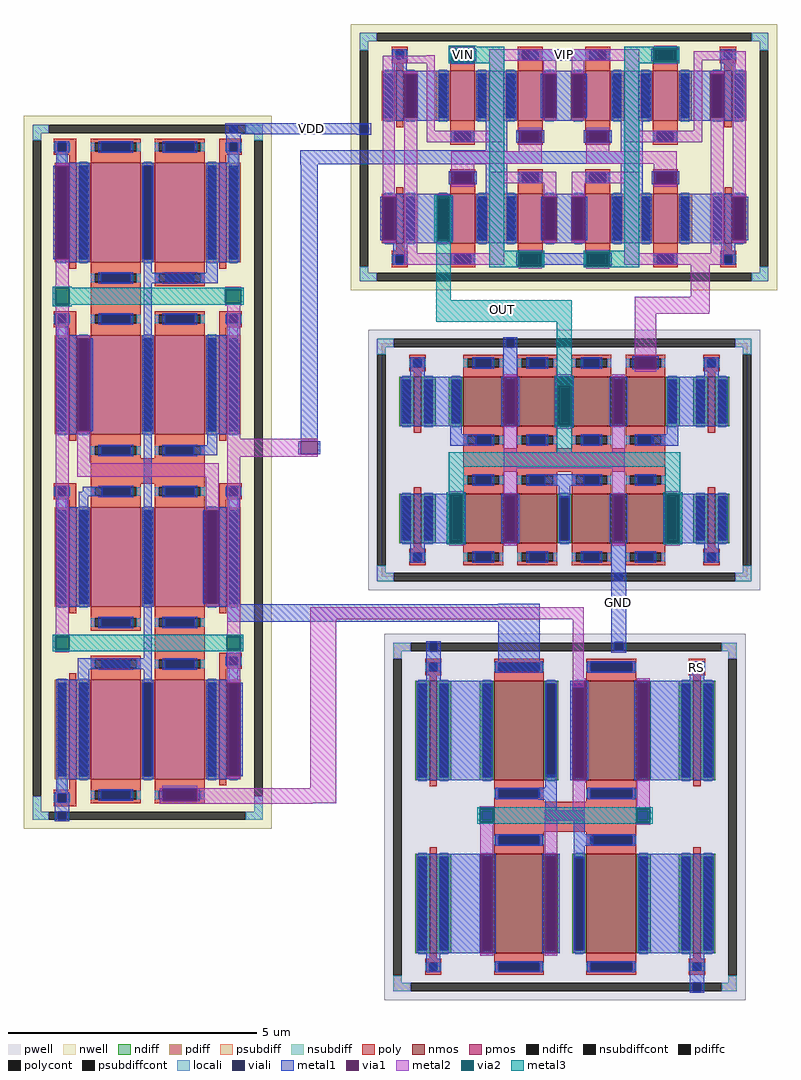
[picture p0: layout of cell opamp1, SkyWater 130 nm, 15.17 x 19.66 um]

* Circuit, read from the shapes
.subckt opamp1 VDD OUT GND RS VIP VIN
XM1 OUT OUT OUT GND sky130_fd_pr__nfet_01v8 w=1 l=0.15 m=2
XM2 pmos_diffamp_0/D6 pmos_diffamp_0/D6 pmos_diffamp_0/D6 GND sky130_fd_pr__nfet_01v8 w=1 l=0.15 m=2
XM3 RS RS RS GND sky130_fd_pr__nfet_01v8 w=2 l=0.15 m=2
XM4 GND GND GND GND sky130_fd_pr__nfet_01v8 w=2 l=0.15 m=2
XM5 GND pmos_diffamp_0/D6 OUT GND sky130_fd_pr__nfet_01v8 w=1 l=0.8 m=4
XM6 GND pmos_diffamp_0/D6 pmos_diffamp_0/D6 GND sky130_fd_pr__nfet_01v8 w=1 l=0.8 m=4
XM7 pmocs_0/D2 pmocs_0/D1 RS GND sky130_fd_pr__nfet_01v8 w=2 l=1 m=2
XM8 pmocs_0/D1 pmocs_0/D1 GND GND sky130_fd_pr__nfet_01v8 w=2 l=1 m=2
XM9 VDD VDD VDD VDD sky130_fd_pr__pfet_01v8 w=2 l=0.15 m=2
XM10 pmocs_0/D2 pmocs_0/D2 pmocs_0/D2 VDD sky130_fd_pr__pfet_01v8 w=2 l=0.15 m=2
XM11 pmocs_0/D1 pmocs_0/D1 pmocs_0/D1 VDD sky130_fd_pr__pfet_01v8 w=2 l=0.15 m=2
XM12 pmocs_0/D5 pmocs_0/D5 pmocs_0/D5 VDD sky130_fd_pr__pfet_01v8 w=2 l=0.15 m=2
XM13 VDD VDD VDD VDD sky130_fd_pr__pfet_01v8 w=2 l=1 m=2
XM14 VDD pmocs_0/D2 pmocs_0/D2 VDD sky130_fd_pr__pfet_01v8 w=2 l=1 m=2
XM15 VDD pmocs_0/D2 pmocs_0/D1 VDD sky130_fd_pr__pfet_01v8 w=2 l=1 m=2
XM16 VDD pmocs_0/D2 pmocs_0/D5 VDD sky130_fd_pr__pfet_01v8 w=2 l=1 m=2
XM17 OUT OUT OUT VDD sky130_fd_pr__pfet_01v8 w=1 l=0.15 m=2
XM18 pmos_diffamp_0/D6 pmos_diffamp_0/D6 pmos_diffamp_0/D6 VDD sky130_fd_pr__pfet_01v8 w=1 l=0.15 m=2
XM19 pmocs_0/D5 VIN pmos_diffamp_0/D6 VDD sky130_fd_pr__pfet_01v8 w=1 l=0.5 m=4
XM20 pmocs_0/D5 VIP OUT VDD sky130_fd_pr__pfet_01v8 w=1 l=0.5 m=4
.ends

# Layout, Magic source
magic
tech sky130A
magscale 1 2
<< viali >>
rect 1353 2802 1387 2836
rect 2378 717 2414 751
<< metal1 >>
rect 2152 3094 2198 3140
rect 811 2836 1399 2842
rect 811 2802 1353 2836
rect 1387 2802 1399 2836
rect 811 2797 1399 2802
rect 1341 2796 1399 2797
rect 1113 2678 1945 2733
rect 1115 1561 1183 2678
rect 1654 2367 1664 2547
rect 1716 2367 1726 2547
rect 2451 1851 2461 1903
rect 2548 1851 2558 1903
rect 1105 1509 1115 1561
rect 1183 1509 1193 1561
rect 828 905 862 947
rect 1910 905 2078 906
rect 819 835 2078 905
rect 828 834 862 835
rect 1910 629 2078 835
rect 2366 751 2426 1032
rect 2366 717 2378 751
rect 2414 717 2426 751
rect 2366 710 2426 717
rect 2683 619 2740 675
rect 547 111 557 163
rect 699 111 709 163
<< via1 >>
rect 1664 2367 1716 2547
rect 2461 1851 2548 1903
rect 1115 1509 1183 1561
rect 557 111 699 163
<< metal2 >>
rect 1662 2547 1718 2557
rect 1662 2357 1718 2367
rect 2686 2144 2762 2318
rect 2460 2084 2762 2144
rect 2460 2075 2761 2084
rect 2461 1903 2548 2075
rect 2461 1841 2548 1851
rect 820 1561 1183 1571
rect 820 1509 1115 1561
rect 820 1500 1183 1509
rect 1115 1499 1183 1500
rect 1153 845 2256 892
rect 557 163 699 173
rect 1153 163 1259 845
rect 2211 570 2256 845
rect 547 111 557 163
rect 699 111 1259 163
rect 547 103 1259 111
rect 547 102 1162 103
rect 557 101 699 102
<< via2 >>
rect 1662 2367 1664 2547
rect 1664 2367 1716 2547
rect 1716 2367 1718 2547
<< metal3 >>
rect 1711 3084 1823 3155
rect 1652 2547 1728 2552
rect 1652 2367 1662 2547
rect 1718 2367 1728 2547
rect 1652 2362 1728 2367
rect 1660 2129 1720 2362
rect 1660 2043 2207 2129
rect 2147 1785 2207 2043
use nmos_diffamp  nmos_diffamp_0
transform 1 0 1712 0 1 1498
box -324 -536 1254 512
use nmoscs  nmoscs_0
transform 1 0 1836 0 1 109
box -384 -798 1072 677
use pmocs  pmocs_0
transform 1 0 184 0 1 877
box -184 -877 814 1995
use pmos_diffamp  pmos_diffamp_0
transform 1 0 1623 0 1 2748
box -306 -578 1411 494
<< labels >>
flabel metal1 1158 2820 1158 2820 0 FreeSans 800 0 0 0 VDD
port 0 nsew
flabel metal3 1929 2091 1929 2091 0 FreeSans 800 0 0 0 OUT
port 1 nsew
flabel metal1 2397 912 2397 912 0 FreeSans 800 0 0 0 GND
port 2 nsew
flabel metal1 2711 652 2711 652 0 FreeSans 800 0 0 0 RS
port 3 nsew
flabel metal1 2176 3120 2176 3120 0 FreeSans 800 0 0 0 VIP
port 4 nsew
flabel metal3 1769 3120 1769 3120 0 FreeSans 800 0 0 0 VIN
port 5 nsew
<< end >>

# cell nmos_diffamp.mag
magic
tech sky130A
magscale 1 2
<< pwell >>
rect -324 476 1254 512
rect -324 -500 -288 476
rect -271 -483 1201 459
rect 1218 -500 1254 476
rect -324 -536 1254 -500
<< psubdiff >>
rect -288 442 -223 476
rect 1153 442 1218 476
rect -288 414 -254 442
rect 1184 414 1218 442
rect -288 -466 -254 -438
rect 1184 -466 1218 -438
rect -288 -500 -223 -466
rect 1153 -500 1218 -466
<< psubdiffcont >>
rect -223 442 1153 476
rect -288 -438 -254 414
rect 1184 -438 1218 414
rect -223 -500 1153 -466
<< poly >>
rect 58 -59 872 35
<< locali >>
rect -288 442 -223 476
rect 1153 442 1218 476
rect -288 414 -254 442
rect -288 -466 -254 -438
rect 1184 414 1218 442
rect 1184 -466 1218 -438
rect -288 -500 -223 -466
rect 1153 -500 1218 -466
<< viali >>
rect 230 442 264 476
rect 666 -500 701 -466
<< metal1 >>
rect 218 476 276 482
rect 218 442 230 476
rect 264 442 276 476
rect -156 323 -98 401
rect 218 323 276 442
rect 1028 323 1086 401
rect -194 123 52 323
rect 211 123 221 323
rect 273 123 283 323
rect 429 123 439 323
rect 491 123 501 323
rect 647 123 657 323
rect 709 123 719 323
rect 878 123 1124 323
rect 6 91 52 123
rect 878 91 924 123
rect 6 45 113 91
rect 814 45 924 91
rect 386 -115 545 -69
rect -194 -347 3 -147
rect 55 -347 65 -147
rect 211 -347 221 -147
rect 273 -347 283 -147
rect 442 -164 488 -115
rect 647 -347 657 -147
rect 709 -347 719 -147
rect 865 -347 875 -147
rect 927 -347 1124 -147
rect -156 -425 -98 -347
rect 654 -460 712 -347
rect 1028 -425 1086 -347
rect 654 -466 713 -460
rect 654 -500 666 -466
rect 701 -500 713 -466
rect 654 -506 713 -500
<< via1 >>
rect 221 123 273 323
rect 439 123 491 323
rect 657 123 709 323
rect 3 -347 55 -147
rect 221 -347 273 -147
rect 657 -347 709 -147
rect 875 -347 927 -147
<< metal2 >>
rect 221 323 273 333
rect 221 20 273 123
rect 437 323 493 333
rect 437 113 493 123
rect 657 323 709 333
rect 657 20 709 123
rect 221 -45 709 20
rect 1 -147 57 -137
rect 1 -357 57 -347
rect 221 -147 273 -45
rect 221 -357 273 -347
rect 657 -147 709 -45
rect 657 -357 709 -347
rect 873 -147 929 -137
rect 873 -357 929 -347
<< via2 >>
rect 437 123 439 323
rect 439 123 491 323
rect 491 123 493 323
rect 1 -347 3 -147
rect 3 -347 55 -147
rect 55 -347 57 -147
rect 873 -347 875 -147
rect 875 -347 927 -147
rect 927 -347 929 -147
<< metal3 >>
rect 427 323 503 328
rect 427 123 437 323
rect 493 123 503 323
rect 427 118 503 123
rect 435 20 495 118
rect -1 -40 931 20
rect -1 -142 59 -40
rect 871 -142 931 -40
rect -9 -147 67 -142
rect -9 -347 1 -147
rect 57 -347 67 -147
rect -9 -352 67 -347
rect 863 -147 939 -142
rect 863 -347 873 -147
rect 929 -347 939 -147
rect 863 -352 939 -347
use sky130_fd_pr__nfet_01v8_59MFY5  sky130_fd_pr__nfet_01v8_59MFY5_0
transform 1 0 1057 0 1 -278
box -73 -157 73 157
use sky130_fd_pr__nfet_01v8_59MFY5  sky130_fd_pr__nfet_01v8_59MFY5_1
transform 1 0 -127 0 1 -278
box -73 -157 73 157
use sky130_fd_pr__nfet_01v8_DXNGQZ  sky130_fd_pr__nfet_01v8_DXNGQZ_0
transform 1 0 465 0 1 223
box -465 -188 465 188
use sky130_fd_pr__nfet_01v8_DXNGQZ  sky130_fd_pr__nfet_01v8_DXNGQZ_1
transform 1 0 465 0 1 -247
box -465 -188 465 188
use sky130_fd_pr__nfet_01v8_UPT43B  sky130_fd_pr__nfet_01v8_UPT43B_0
transform 1 0 -127 0 1 254
box -73 -157 73 157
use sky130_fd_pr__nfet_01v8_UPT43B  sky130_fd_pr__nfet_01v8_UPT43B_1
transform 1 0 1057 0 1 254
box -73 -157 73 157
<< labels >>
flabel metal1 -32 -252 -32 -252 0 FreeSans 160 0 0 0 OUT
port 1 nsew
flabel metal1 -27 229 -27 229 0 FreeSans 160 0 0 0 D8
port 2 nsew
flabel metal2 247 67 247 67 0 FreeSans 160 0 0 0 GND
port 0 nsew
<< end >>

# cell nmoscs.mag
magic
tech sky130A
magscale 1 2
<< pwell >>
rect -384 -798 1072 677
<< psubdiff >>
rect -348 607 -277 641
rect 974 607 1036 641
rect -348 577 -314 607
rect 1002 577 1036 607
rect -348 -728 -314 -700
rect 1002 -728 1036 -700
rect -348 -762 -277 -728
rect 974 -762 1036 -728
<< psubdiffcont >>
rect -277 607 974 641
rect -348 -700 -314 577
rect 1002 -700 1036 577
rect -277 -762 974 -728
<< poly >>
rect 58 -121 630 0
<< locali >>
rect -348 607 -277 641
rect 974 607 1036 641
rect -348 577 -314 607
rect -348 -728 -314 -700
rect 1002 577 1036 607
rect 1002 -728 1036 -700
rect -348 -762 -277 -728
rect 974 -762 1036 -728
<< viali >>
rect -204 607 -170 641
rect 858 -762 892 -728
<< metal1 >>
rect -216 641 -157 647
rect -216 607 -204 641
rect -170 607 -157 641
rect -216 555 -157 607
rect -215 488 -157 555
rect 847 488 904 566
rect -254 88 52 488
rect 264 56 310 109
rect 365 88 375 488
rect 427 88 437 488
rect 623 88 633 488
rect 685 88 942 488
rect 235 9 310 56
rect 264 -33 310 9
rect 264 -77 424 -33
rect 378 -131 424 -77
rect 378 -177 457 -131
rect -254 -209 -120 -208
rect -254 -608 3 -209
rect -216 -609 3 -608
rect 55 -609 65 -209
rect 251 -609 261 -209
rect 313 -609 323 -209
rect 378 -228 424 -177
rect 636 -609 942 -209
rect -216 -687 -158 -609
rect 846 -728 904 -609
rect 846 -762 858 -728
rect 892 -762 904 -728
rect 846 -768 904 -762
<< via1 >>
rect 375 88 427 488
rect 633 88 685 488
rect 3 -609 55 -209
rect 261 -609 313 -209
<< metal2 >>
rect 375 488 427 498
rect 375 78 427 88
rect 633 488 685 498
rect 1 -27 57 -17
rect 375 -33 424 78
rect 633 -17 685 88
rect 1 -93 57 -83
rect 261 -77 424 -33
rect 631 -27 687 -17
rect 3 -209 55 -93
rect 3 -619 55 -609
rect 261 -209 313 -77
rect 631 -93 687 -83
rect 261 -619 313 -609
<< via2 >>
rect 1 -83 57 -27
rect 631 -83 687 -27
<< metal3 >>
rect -9 -27 697 -22
rect -9 -83 1 -27
rect 57 -83 631 -27
rect 687 -83 697 -27
rect -9 -88 697 -83
use sky130_fd_pr__nfet_01v8_Q6XT6P  sky130_fd_pr__nfet_01v8_Q6XT6P_0
transform 1 0 344 0 1 -409
box -344 -288 344 288
use sky130_fd_pr__nfet_01v8_Q6XT6P  sky130_fd_pr__nfet_01v8_Q6XT6P_1
transform 1 0 344 0 1 288
box -344 -288 344 288
use sky130_fd_pr__nfet_01v8_SCJFGL  sky130_fd_pr__nfet_01v8_SCJFGL_0
transform 1 0 875 0 1 -440
box -73 -257 73 257
use sky130_fd_pr__nfet_01v8_SCJFGL  sky130_fd_pr__nfet_01v8_SCJFGL_1
transform 1 0 -187 0 1 -440
box -73 -257 73 257
use sky130_fd_pr__nfet_01v8_TCR5KT  sky130_fd_pr__nfet_01v8_TCR5KT_0
transform 1 0 -187 0 1 319
box -73 -257 73 257
use sky130_fd_pr__nfet_01v8_TCR5KT  sky130_fd_pr__nfet_01v8_TCR5KT_1
transform 1 0 875 0 1 319
box -73 -257 73 257
<< labels >>
flabel metal1 285 35 285 35 0 FreeSans 160 0 0 0 D3
port 0 nsew
flabel metal2 400 34 401 34 0 FreeSans 160 0 0 0 D4
port 1 nsew
flabel metal1 -187 591 -187 591 0 FreeSans 160 0 0 0 GND
port 2 nsew
flabel metal1 -57 -410 -57 -410 0 FreeSans 160 0 0 0 RS
port 3 nsew
<< end >>

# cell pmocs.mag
magic
tech sky130A
magscale 1 2
<< nwell >>
rect -184 -877 814 1995
<< nsubdiff >>
rect -148 1925 -83 1959
rect 709 1925 778 1959
rect -148 1897 -114 1925
rect 744 1897 778 1925
rect -148 -807 -114 -745
rect 744 -807 778 -745
rect -148 -841 -83 -807
rect 709 -841 778 -807
<< nsubdiffcont >>
rect -83 1925 709 1959
rect -148 -745 -114 1897
rect 744 -745 778 1897
rect -83 -841 709 -807
<< poly >>
rect -64 1887 28 1903
rect -64 1853 -48 1887
rect -14 1853 28 1887
rect -64 1838 28 1853
rect -2 1818 28 1838
rect 602 1887 694 1903
rect 602 1853 644 1887
rect 678 1853 694 1887
rect 602 1838 694 1853
rect 602 1818 632 1838
rect -64 1193 28 1209
rect 86 1208 286 1310
rect -64 1159 -48 1193
rect -14 1159 28 1193
rect -64 1144 28 1159
rect -2 1124 28 1144
rect 602 1193 694 1209
rect 602 1159 644 1193
rect 678 1159 694 1193
rect 602 1144 694 1159
rect 602 1126 632 1144
rect -64 499 28 515
rect 86 514 544 616
rect -64 465 -48 499
rect -14 465 28 499
rect -64 450 28 465
rect -2 430 28 450
rect 602 499 694 515
rect 602 465 644 499
rect 678 465 694 499
rect 602 450 694 465
rect 602 430 632 450
rect 344 -180 544 -78
rect 602 -183 694 -167
rect 602 -217 644 -183
rect 678 -217 694 -183
rect 602 -232 694 -217
rect 602 -250 632 -232
rect -2 -720 28 -702
rect -64 -735 28 -720
rect -64 -769 -48 -735
rect -14 -769 28 -735
rect -64 -785 28 -769
<< polycont >>
rect -48 1853 -14 1887
rect 644 1853 678 1887
rect -48 1159 -14 1193
rect 644 1159 678 1193
rect -48 465 -14 499
rect 644 465 678 499
rect 644 -217 678 -183
rect -48 -769 -14 -735
<< locali >>
rect -148 1925 -83 1959
rect 709 1925 778 1959
rect -148 1897 -114 1925
rect 744 1897 778 1925
rect -64 1853 -48 1887
rect -14 1853 2 1887
rect 628 1853 644 1887
rect 678 1853 694 1887
rect -48 1790 -14 1853
rect 644 1788 678 1853
rect -64 1159 -48 1193
rect -14 1159 2 1193
rect 628 1159 644 1193
rect 678 1159 694 1193
rect -48 1096 -14 1159
rect 644 1094 678 1159
rect -64 465 -48 499
rect -14 465 2 499
rect 628 465 644 499
rect 678 465 694 499
rect -48 402 -14 465
rect 644 402 678 465
rect 628 -217 644 -183
rect 678 -217 694 -183
rect -48 -290 -14 -275
rect 644 -291 678 -217
rect -48 -735 -14 -661
rect -148 -807 -114 -745
rect -64 -769 -48 -735
rect -14 -769 2 -735
rect 744 -807 778 -745
rect -148 -841 -83 -807
rect 709 -841 778 -807
<< viali >>
rect 644 1925 678 1959
rect -48 1853 -14 1887
rect 644 1853 678 1887
rect -48 1159 -14 1193
rect 644 1159 678 1193
rect -48 465 -14 499
rect 644 465 678 499
rect 644 -217 678 -183
rect -48 -769 -14 -735
rect -48 -841 -14 -807
<< metal1 >>
rect 632 1959 690 1965
rect 632 1925 644 1959
rect 678 1925 690 1959
rect -60 1887 -2 1893
rect -60 1853 -48 1887
rect -14 1853 -2 1887
rect -60 1847 -2 1853
rect 632 1887 690 1925
rect 632 1853 644 1887
rect 678 1853 690 1887
rect 632 1847 690 1853
rect -54 1806 -8 1847
rect 638 1806 684 1847
rect -54 1794 80 1806
rect -66 1418 -56 1794
rect -4 1418 80 1794
rect -54 1406 80 1418
rect 298 1364 332 1418
rect 550 1406 684 1806
rect 550 1364 596 1406
rect 298 1320 596 1364
rect -60 1193 -2 1199
rect -60 1159 -48 1193
rect -14 1159 -2 1193
rect -60 1153 -2 1159
rect -54 1112 -8 1153
rect -54 1100 80 1112
rect -54 724 32 1100
rect 84 724 94 1100
rect -54 712 80 724
rect -60 499 -2 505
rect -60 465 -48 499
rect -14 465 -2 499
rect 54 481 134 502
rect -60 459 -2 465
rect 38 462 134 481
rect -54 418 -8 459
rect 38 418 76 462
rect -54 18 80 418
rect 298 -190 332 1320
rect 632 1193 690 1199
rect 632 1159 644 1193
rect 678 1159 690 1193
rect 632 1153 690 1159
rect 636 1112 688 1153
rect 550 1084 688 1112
rect 550 712 684 1084
rect 554 668 594 712
rect 498 628 594 668
rect 632 499 690 505
rect 632 465 644 499
rect 678 465 690 499
rect 632 459 690 465
rect 638 418 684 459
rect 550 406 684 418
rect 538 30 548 406
rect 600 30 684 406
rect 550 18 684 30
rect 34 -234 332 -190
rect 632 -183 690 -167
rect 632 -217 644 -183
rect 678 -217 690 -183
rect 632 -223 690 -217
rect -54 -276 -8 -275
rect 34 -276 80 -234
rect -54 -676 80 -276
rect 298 -288 332 -234
rect 636 -276 688 -223
rect 550 -288 688 -276
rect 550 -664 636 -288
rect 688 -664 698 -288
rect 550 -676 684 -664
rect -54 -729 -8 -676
rect -60 -735 -2 -729
rect -60 -769 -48 -735
rect -14 -769 -2 -735
rect -60 -807 -2 -769
rect -60 -841 -48 -807
rect -14 -841 -2 -807
rect -60 -847 -2 -841
<< via1 >>
rect -56 1418 -4 1794
rect 32 724 84 1100
rect 548 30 600 406
rect 636 -664 688 -288
<< metal2 >>
rect -56 1794 -4 1804
rect -56 1312 -4 1418
rect -58 1302 -2 1312
rect -58 1224 -2 1234
rect 628 1296 692 1306
rect 628 1230 692 1240
rect -56 -90 -4 1224
rect 32 1100 84 1110
rect 32 596 84 724
rect 32 542 600 596
rect 548 406 600 542
rect 548 20 600 30
rect 636 -90 688 1230
rect -58 -100 -2 -90
rect -58 -166 -2 -156
rect 634 -100 690 -90
rect 634 -166 690 -156
rect 636 -288 688 -166
rect 636 -674 688 -664
<< via2 >>
rect -58 1234 -2 1302
rect 628 1240 692 1296
rect -58 -156 -2 -100
rect 634 -156 690 -100
<< metal3 >>
rect -68 1302 8 1307
rect -68 1234 -58 1302
rect -2 1296 702 1302
rect -2 1240 628 1296
rect 692 1240 702 1296
rect -2 1234 702 1240
rect -68 1229 8 1234
rect -68 -100 700 -94
rect -68 -156 -58 -100
rect -2 -156 634 -100
rect 690 -156 700 -100
rect -68 -162 700 -156
use sky130_fd_pr__pfet_01v8_2ZH9AN  sky130_fd_pr__pfet_01v8_2ZH9AN_0
transform 1 0 13 0 1 218
box -109 -262 109 262
use sky130_fd_pr__pfet_01v8_2ZH9AN  sky130_fd_pr__pfet_01v8_2ZH9AN_1
transform 1 0 13 0 1 -476
box -109 -262 109 262
use sky130_fd_pr__pfet_01v8_2ZH9AN  sky130_fd_pr__pfet_01v8_2ZH9AN_2
transform 1 0 617 0 1 -476
box -109 -262 109 262
use sky130_fd_pr__pfet_01v8_2ZH9AN  sky130_fd_pr__pfet_01v8_2ZH9AN_3
transform 1 0 617 0 1 218
box -109 -262 109 262
use sky130_fd_pr__pfet_01v8_2ZH9AN  sky130_fd_pr__pfet_01v8_2ZH9AN_4
transform 1 0 617 0 1 912
box -109 -262 109 262
use sky130_fd_pr__pfet_01v8_2ZH9AN  sky130_fd_pr__pfet_01v8_2ZH9AN_5
transform 1 0 617 0 1 1606
box -109 -262 109 262
use sky130_fd_pr__pfet_01v8_2ZH9AN  sky130_fd_pr__pfet_01v8_2ZH9AN_6
transform 1 0 13 0 1 1606
box -109 -262 109 262
use sky130_fd_pr__pfet_01v8_2ZH9AN  sky130_fd_pr__pfet_01v8_2ZH9AN_7
transform 1 0 13 0 1 912
box -109 -262 109 262
use sky130_fd_pr__pfet_01v8_SDE6B7  sky130_fd_pr__pfet_01v8_SDE6B7_0
transform 1 0 315 0 1 1606
box -323 -300 323 300
use sky130_fd_pr__pfet_01v8_SDE6B7  sky130_fd_pr__pfet_01v8_SDE6B7_1
transform 1 0 315 0 1 912
box -323 -300 323 300
use sky130_fd_pr__pfet_01v8_SDE6B7  sky130_fd_pr__pfet_01v8_SDE6B7_2
transform 1 0 315 0 1 218
box -323 -300 323 300
use sky130_fd_pr__pfet_01v8_SDE6B7  sky130_fd_pr__pfet_01v8_SDE6B7_3
transform 1 0 315 0 1 -476
box -323 -300 323 300
<< labels >>
flabel metal1 658 1917 658 1917 0 FreeSans 160 0 0 0 VDD
port 0 nsew
flabel metal2 662 606 662 606 0 FreeSans 160 0 0 0 D5
port 1 nsew
flabel metal1 572 659 572 659 0 FreeSans 160 0 0 0 D2
port 2 nsew
flabel metal2 59 625 59 625 0 FreeSans 160 0 0 0 D1
port 3 nsew
<< end >>

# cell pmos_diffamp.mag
magic
tech sky130A
magscale 1 2
<< nwell >>
rect -306 -578 1411 494
<< nsubdiff >>
rect -270 424 -201 458
rect 1309 424 1375 458
rect -270 389 -236 424
rect -270 -508 -236 -483
rect 1341 389 1375 424
rect 1341 -508 1375 -483
rect -270 -542 -201 -508
rect 1309 -542 1375 -508
<< nsubdiffcont >>
rect -201 424 1309 458
rect -270 -483 -236 389
rect 1341 -483 1375 389
rect -201 -542 1309 -508
<< locali >>
rect -270 424 -201 458
rect 1309 424 1375 458
rect -270 389 -236 424
rect -270 -508 -236 -483
rect 1341 389 1375 424
rect 1341 -508 1375 -483
rect -270 -542 -201 -508
rect 1309 -542 1375 -508
<< metal1 >>
rect -139 305 -80 392
rect 88 343 98 395
rect 190 343 200 395
rect 415 346 689 392
rect 904 343 914 395
rect 1006 343 1016 395
rect 1184 305 1242 392
rect -176 293 88 305
rect -176 117 -91 293
rect -39 117 88 293
rect -176 105 88 117
rect 200 105 360 305
rect 472 293 632 305
rect 459 117 469 293
rect 521 117 583 293
rect 635 117 645 293
rect 472 105 632 117
rect 744 105 904 305
rect 1016 293 1280 305
rect 1016 117 1143 293
rect 1195 117 1280 293
rect 1016 105 1280 117
rect 237 -18 324 105
rect 360 15 370 67
rect 462 15 472 67
rect 632 15 642 67
rect 734 15 744 67
rect 781 -18 869 105
rect 237 -69 869 -18
rect 89 -151 99 -99
rect 191 -151 201 -99
rect 237 -189 324 -69
rect 781 -189 869 -69
rect 905 -151 915 -99
rect 1007 -151 1017 -99
rect -174 -201 90 -189
rect -187 -377 -177 -201
rect -125 -377 90 -201
rect -174 -389 90 -377
rect 201 -389 361 -189
rect 473 -201 633 -189
rect 460 -377 470 -201
rect 522 -377 584 -201
rect 636 -377 646 -201
rect 473 -389 633 -377
rect 745 -389 905 -189
rect 1017 -201 1281 -189
rect 1017 -377 1232 -201
rect 1284 -377 1294 -201
rect 1017 -389 1281 -377
rect -136 -439 -78 -389
rect 361 -479 371 -427
rect 463 -430 473 -427
rect 633 -430 643 -427
rect 463 -475 643 -430
rect 463 -479 473 -475
rect 633 -479 643 -475
rect 735 -479 745 -427
rect 1185 -438 1243 -389
<< via1 >>
rect 98 343 190 395
rect 914 343 1006 395
rect -91 117 -39 293
rect 469 117 521 293
rect 583 117 635 293
rect 1143 117 1195 293
rect 370 15 462 67
rect 642 15 734 67
rect 99 -151 191 -99
rect 915 -151 1007 -99
rect -177 -377 -125 -201
rect 470 -377 522 -201
rect 584 -377 636 -201
rect 1232 -377 1284 -201
rect 371 -479 463 -427
rect 643 -479 735 -427
<< metal2 >>
rect 98 397 190 407
rect 0 367 31 368
rect -177 335 31 367
rect -177 -191 -130 335
rect -91 293 -39 303
rect -177 -201 -125 -191
rect -177 -387 -125 -377
rect -91 -430 -39 117
rect 0 64 31 335
rect 914 397 1006 407
rect 98 331 190 341
rect 251 346 521 392
rect 251 64 311 346
rect 469 293 521 346
rect 469 107 521 117
rect 583 346 856 392
rect 583 293 635 346
rect 583 107 635 117
rect 0 18 311 64
rect 370 67 462 77
rect 370 -18 462 15
rect 99 -69 462 -18
rect 642 67 734 77
rect 796 64 856 346
rect 914 331 1006 341
rect 1075 349 1284 385
rect 1075 64 1110 349
rect 796 18 1110 64
rect 1143 293 1195 303
rect 642 -18 734 15
rect 642 -69 1007 -18
rect 99 -99 191 -69
rect 915 -99 1007 -69
rect 99 -161 191 -151
rect 251 -148 522 -102
rect 251 -430 311 -148
rect 470 -201 522 -148
rect 470 -387 522 -377
rect 584 -148 856 -102
rect 584 -201 636 -148
rect 584 -387 636 -377
rect -91 -476 311 -430
rect 371 -425 463 -415
rect 371 -491 463 -481
rect 643 -425 735 -415
rect 796 -430 856 -148
rect 915 -161 1007 -151
rect 1143 -430 1195 117
rect 1232 -201 1284 349
rect 1232 -387 1284 -377
rect 796 -476 1195 -430
rect 643 -491 735 -481
<< via2 >>
rect 98 395 190 397
rect 98 343 190 395
rect 914 395 1006 397
rect 98 341 190 343
rect 914 343 1006 395
rect 914 341 1006 343
rect 371 -427 463 -425
rect 371 -479 463 -427
rect 371 -481 463 -479
rect 643 -427 735 -425
rect 643 -479 735 -427
rect 643 -481 735 -479
<< metal3 >>
rect 88 397 311 402
rect 88 341 98 397
rect 190 341 311 397
rect 88 336 311 341
rect 251 -420 311 336
rect 796 397 1016 402
rect 796 341 914 397
rect 1006 341 1016 397
rect 796 336 1016 341
rect 796 -420 856 336
rect 251 -425 473 -420
rect 251 -481 371 -425
rect 463 -481 473 -425
rect 251 -486 473 -481
rect 633 -425 856 -420
rect 633 -481 643 -425
rect 735 -481 856 -425
rect 633 -486 856 -481
use sky130_fd_pr__pfet_01v8_BH5GQ5  sky130_fd_pr__pfet_01v8_BH5GQ5_0
transform 1 0 552 0 1 205
box -552 -200 552 200
use sky130_fd_pr__pfet_01v8_BH5GQ5  sky130_fd_pr__pfet_01v8_BH5GQ5_1
transform 1 0 553 0 1 -289
box -552 -200 552 200
use sky130_fd_pr__pfet_01v8_LA8JHL  sky130_fd_pr__pfet_01v8_LA8JHL_0
transform 1 0 -109 0 1 -325
box -109 -164 109 198
use sky130_fd_pr__pfet_01v8_LA8JHL  sky130_fd_pr__pfet_01v8_LA8JHL_1
transform 1 0 1214 0 1 -325
box -109 -164 109 198
use sky130_fd_pr__pfet_01v8_MA8JHN  sky130_fd_pr__pfet_01v8_MA8JHN_0
transform 1 0 -109 0 1 241
box -109 -198 109 164
use sky130_fd_pr__pfet_01v8_MA8JHN  sky130_fd_pr__pfet_01v8_MA8JHN_1
transform 1 0 1213 0 1 241
box -109 -198 109 164
<< labels >>
flabel metal3 224 367 224 367 0 FreeSans 160 0 0 0 VIN
port 0 nsew
flabel metal2 216 -46 216 -46 0 FreeSans 160 0 0 0 VIP
port 1 nsew
flabel metal1 552 -44 552 -44 0 FreeSans 160 0 0 0 D5
port 2 nsew
flabel metal2 1258 -47 1259 -46 0 FreeSans 160 0 0 0 OUT
port 3 nsew
flabel nsubdiffcont 553 439 553 439 0 FreeSans 160 0 0 0 VDD
port 4 nsew
flabel metal2 1171 -51 1171 -51 0 FreeSans 160 0 0 0 D6
port 5 nsew
<< end >>

# cell sky130_fd_pr__pfet_01v8_BH5GQ5: kit device sky130_fd_pr__pfet_01v8, w 1 l 0.5 m 1 nf 4 diffcov 100 polycov 100 guard 0 glc 1 grc 1 gtc 1 gbc 1 tbcov 100 rlcov 100 topc 1 botc 1 poverlap 0 doverlap 0 lmin 0.15 wmin 0.42 compatible {sky130_fd_pr__pfet_01v8 sky130_fd_pr__pfet_01v8_lvt sky130_fd_pr__pfet_01v8_hvt sky130_fd_pr__pfet_g5v0d10v5} full_metal 1 viasrc 100 viadrn 100 viagate 100 viagb 0 viagr 0 viagl 0 viagt 0

# cell sky130_fd_pr__pfet_01v8_LA8JHL: kit device sky130_fd_pr__pfet_01v8, w 1 l 0.15 m 1 nf 1 diffcov 100 polycov 100 guard 0 glc 1 grc 1 gtc 1 gbc 1 tbcov 100 rlcov 100 topc 0 botc 1 poverlap 0 doverlap 1 lmin 0.15 wmin 0.42 compatible {sky130_fd_pr__pfet_01v8 sky130_fd_pr__pfet_01v8_lvt sky130_fd_pr__pfet_01v8_hvt sky130_fd_pr__pfet_g5v0d10v5} full_metal 1 viasrc 100 viadrn 100 viagate 100 viagb 0 viagr 0 viagl 0 viagt 0

# cell sky130_fd_pr__pfet_01v8_MA8JHN: kit device sky130_fd_pr__pfet_01v8, w 1 l 0.15 m 1 nf 1 diffcov 100 polycov 100 guard 0 glc 1 grc 1 gtc 1 gbc 1 tbcov 100 rlcov 100 topc 1 botc 0 poverlap 0 doverlap 1 lmin 0.15 wmin 0.42 compatible {sky130_fd_pr__pfet_01v8 sky130_fd_pr__pfet_01v8_lvt sky130_fd_pr__pfet_01v8_hvt sky130_fd_pr__pfet_g5v0d10v5} full_metal 1 viasrc 100 viadrn 100 viagate 100 viagb 0 viagr 0 viagl 0 viagt 0

# cell sky130_fd_pr__pfet_01v8_2ZH9AN: kit device sky130_fd_pr__pfet_01v8, w 2 l 0.15 m 1 nf 1 diffcov 100 polycov 100 guard 0 glc 1 grc 1 gtc 1 gbc 1 tbcov 100 rlcov 100 topc 0 botc 0 poverlap 0 doverlap 1 lmin 0.15 wmin 0.42 compatible {sky130_fd_pr__pfet_01v8 sky130_fd_pr__pfet_01v8_lvt sky130_fd_pr__pfet_01v8_hvt sky130_fd_pr__pfet_g5v0d10v5} full_metal 1 viasrc 100 viadrn 100 viagate 100 viagb 0 viagr 0 viagl 0 viagt 0

# cell sky130_fd_pr__pfet_01v8_SDE6B7: kit device sky130_fd_pr__pfet_01v8, w 2 l 1 m 1 nf 2 diffcov 100 polycov 100 guard 0 glc 1 grc 1 gtc 1 gbc 1 tbcov 100 rlcov 100 topc 1 botc 1 poverlap 0 doverlap 1 lmin 0.15 wmin 0.42 compatible {sky130_fd_pr__pfet_01v8 sky130_fd_pr__pfet_01v8_lvt sky130_fd_pr__pfet_01v8_hvt sky130_fd_pr__pfet_g5v0d10v5} full_metal 1 viasrc 100 viadrn 100 viagate 70 viagb 0 viagr 0 viagl 0 viagt 0

# cell sky130_fd_pr__nfet_01v8_Q6XT6P: kit device sky130_fd_pr__nfet_01v8, w 2 l 1 m 1 nf 2 diffcov 100 polycov 100 guard 0 glc 1 grc 1 gtc 1 gbc 1 tbcov 100 rlcov 100 topc 1 botc 1 poverlap 0 doverlap 0 lmin 0.15 wmin 0.42 compatible {sky130_fd_pr__nfet_01v8 sky130_fd_pr__nfet_01v8_lvt sky130_fd_bs_flash__special_sonosfet_star sky130_fd_pr__nfet_g5v0d10v5 sky130_fd_pr__nfet_05v0_nvt sky130_fd_pr__nfet_03v3_nvt} full_metal 1 viasrc 100 viadrn 100 viagate 100 viagb 0 viagr 0 viagl 0 viagt 0

# cell sky130_fd_pr__nfet_01v8_SCJFGL: kit device sky130_fd_pr__nfet_01v8, w 2 l 0.150 m 1 nf 1 diffcov 100 polycov 100 guard 0 glc 1 grc 1 gtc 1 gbc 1 tbcov 100 rlcov 100 topc 0 botc 1 poverlap 0 doverlap 1 lmin 0.15 wmin 0.42 compatible {sky130_fd_pr__nfet_01v8 sky130_fd_pr__nfet_01v8_lvt sky130_fd_bs_flash__special_sonosfet_star sky130_fd_pr__nfet_g5v0d10v5 sky130_fd_pr__nfet_05v0_nvt sky130_fd_pr__nfet_03v3_nvt} full_metal 1 viasrc 100 viadrn 100 viagate 100 viagb 0 viagr 0 viagl 0 viagt 0

# cell sky130_fd_pr__nfet_01v8_TCR5KT: kit device sky130_fd_pr__nfet_01v8, w 2 l 0.150 m 1 nf 1 diffcov 100 polycov 100 guard 0 glc 1 grc 1 gtc 1 gbc 1 tbcov 100 rlcov 100 topc 1 botc 0 poverlap 0 doverlap 1 lmin 0.15 wmin 0.42 compatible {sky130_fd_pr__nfet_01v8 sky130_fd_pr__nfet_01v8_lvt sky130_fd_bs_flash__special_sonosfet_star sky130_fd_pr__nfet_g5v0d10v5 sky130_fd_pr__nfet_05v0_nvt sky130_fd_pr__nfet_03v3_nvt} full_metal 1 viasrc 100 viadrn 100 viagate 100 viagb 0 viagr 0 viagl 0 viagt 0

# cell sky130_fd_pr__nfet_01v8_59MFY5: kit device sky130_fd_pr__nfet_01v8, w 1 l 0.150 m 1 nf 1 diffcov 100 polycov 100 guard 0 glc 1 grc 1 gtc 1 gbc 1 tbcov 100 rlcov 100 topc 0 botc 1 poverlap 0 doverlap 1 lmin 0.15 wmin 0.42 compatible {sky130_fd_pr__nfet_01v8 sky130_fd_pr__nfet_01v8_lvt sky130_fd_bs_flash__special_sonosfet_star sky130_fd_pr__nfet_g5v0d10v5 sky130_fd_pr__nfet_05v0_nvt sky130_fd_pr__nfet_03v3_nvt} full_metal 1 viasrc 100 viadrn 100 viagate 100 viagb 0 viagr 0 viagl 0 viagt 0

# cell sky130_fd_pr__nfet_01v8_DXNGQZ: kit device sky130_fd_pr__nfet_01v8, w 1 l 0.8 m 1 nf 4 diffcov 100 polycov 100 guard 0 glc 1 grc 1 gtc 1 gbc 1 tbcov 100 rlcov 100 topc 1 botc 1 poverlap 0 doverlap 1 lmin 0.15 wmin 0.42 compatible {sky130_fd_pr__nfet_01v8 sky130_fd_pr__nfet_01v8_lvt sky130_fd_bs_flash__special_sonosfet_star sky130_fd_pr__nfet_g5v0d10v5 sky130_fd_pr__nfet_05v0_nvt sky130_fd_pr__nfet_03v3_nvt} full_metal 1 viasrc 100 viadrn 100 viagate 50 viagb 0 viagr 0 viagl 0 viagt 0

# cell sky130_fd_pr__nfet_01v8_UPT43B: kit device sky130_fd_pr__nfet_01v8, w 1 l 0.150 m 1 nf 1 diffcov 100 polycov 100 guard 0 glc 1 grc 1 gtc 1 gbc 1 tbcov 100 rlcov 100 topc 1 botc 0 poverlap 0 doverlap 1 lmin 0.15 wmin 0.42 compatible {sky130_fd_pr__nfet_01v8 sky130_fd_pr__nfet_01v8_lvt sky130_fd_bs_flash__special_sonosfet_star sky130_fd_pr__nfet_g5v0d10v5 sky130_fd_pr__nfet_05v0_nvt sky130_fd_pr__nfet_03v3_nvt} full_metal 1 viasrc 100 viadrn 100 viagate 100 viagb 0 viagr 0 viagl 0 viagt 0
